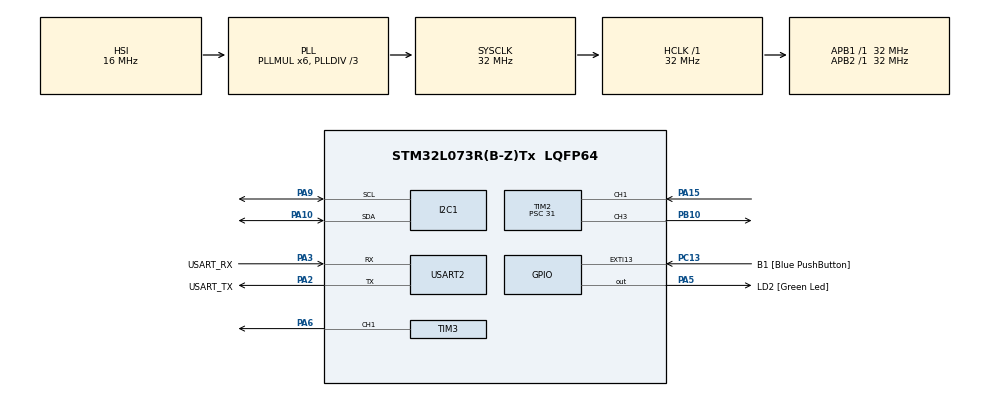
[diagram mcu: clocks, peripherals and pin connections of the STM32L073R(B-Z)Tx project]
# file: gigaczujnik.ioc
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I2C1.Timing=0x00707CBB
Mcu.Family=STM32L0
Mcu.Name=STM32L073R(B-Z)Tx
Mcu.Package=LQFP64
NVIC.USART2_IRQn=true\:0\:0\:false\:false\:true\:true\:true\:true
PA10.GPIO_Pu=GPIO_PULLUP
PA10.Mode=I2C
PA10.Signal=I2C1_SDA
PA13.GPIO_Label=TMS
PA13.Mode=Serial_Wire
PA13.Signal=SYS_SWDIO
PA14.GPIO_Label=TCK
PA14.Mode=Serial_Wire
PA14.Signal=SYS_SWCLK
PA15.Signal=S_TIM2_CH1
PA2.GPIO_Label=USART_TX
PA2.Mode=Asynchronous
PA2.Signal=USART2_TX
PA3.GPIO_Label=USART_RX
PA3.Mode=Asynchronous
PA3.Signal=USART2_RX
PA5.GPIO_Label=LD2 [Green Led]
PA5.Signal=GPIO_Output
PA6.Signal=S_TIM3_CH1
PA9.GPIO_Pu=GPIO_PULLUP
PA9.Mode=I2C
PA9.Signal=I2C1_SCL
PB10.Signal=S_TIM2_CH3
PC13.GPIO_Label=B1 [Blue PushButton]
PC13.GPIO_ModeDefaultEXTI=GPIO_MODE_IT_FALLING
PC13.Signal=GPXTI13
PC14-OSC32_IN.Mode=LSE-External-Oscillator
PC14-OSC32_IN.Signal=RCC_OSC32_IN
PC15-OSC32_OUT.Mode=LSE-External-Oscillator
PC15-OSC32_OUT.Signal=RCC_OSC32_OUT
PH0-OSC_IN.GPIO_Label=MCO
PH0-OSC_IN.Mode=HSE-External-Clock-Source
PH0-OSC_IN.Signal=RCC_OSC_IN
ProjectManager.HeapSize=0x200
ProjectManager.StackSize=0x400
ProjectManager.TargetToolchain=STM32CubeIDE
RCC.AHBFreq_Value=32000000
RCC.APB1Freq_Value=32000000
RCC.APB1TimFreq_Value=32000000
RCC.APB2Freq_Value=32000000
RCC.APB2TimFreq_Value=32000000
RCC.HCLKFreq_Value=32000000
RCC.HSE_VALUE=8000000
RCC.HSI16_VALUE=16000000
RCC.HSI48_VALUE=48000000
RCC.HSI_VALUE=16000000
RCC.MSI_VALUE=2097000
RCC.PLLDIV=RCC_PLLDIV_3
RCC.PLLMUL=RCC_PLLMUL_6
RCC.SYSCLKFreq_VALUE=32000000
RCC.SYSCLKSource=RCC_SYSCLKSOURCE_PLLCLK
RCC.VCOOutputFreq_Value=96000000
SH.S_TIM2_CH1.0=TIM2_CH1,Input_Capture1_from_TI1
SH.S_TIM2_CH3.0=TIM2_CH3,PWM Generation3 CH3
SH.S_TIM3_CH1.0=TIM3_CH1,PWM Generation1 CH1
TIM2.Channel-Input_Capture1_from_TI1=TIM_CHANNEL_1
TIM2.Channel-Input_Capture2_from_TI1_63=TIM_CHANNEL_2
TIM2.Channel-PWM\ Generation3\ CH3=TIM_CHANNEL_3
TIM2.ICPolarity_CH1=TIM_INPUTCHANNELPOLARITY_RISING
TIM2.ICPolarity_CH2=TIM_INPUTCHANNELPOLARITY_FALLING
TIM2.Prescaler=31
TIM2.Pulse-PWM\ Generation3\ CH3=10
TIM3.Channel-PWM\ Generation1\ CH1=TIM_CHANNEL_1
TIM3.Period=19999
TIM3.Prescaler=31
USART2.VirtualMode-Asynchronous=VM_ASYNC
VP_TIM2_VS_indirect_ch1.Mode=Input_Capture2_from_TI1_63
board=NUCLEO-L073RZ

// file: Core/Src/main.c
/* USER CODE BEGIN Header */
/**
  ******************************************************************************
  * @file           : main.c
  * @brief          : Main program body
  ******************************************************************************
  * @attention
  *
  * Copyright (c) 2022 STMicroelectronics.
  * All rights reserved.
  *
  * This software is licensed under terms that can be found in the LICENSE file
  * in the root directory of this software component.
  * If no LICENSE file comes with this software, it is provided AS-IS.
  *
  ******************************************************************************
  */
/* USER CODE END Header */
#include "main.h"
#include "i2c.h"
#include "tim.h"
#include "usart.h"
#include "gpio.h"

/* USER CODE BEGIN Includes */
#include <stdio.h>
#include <string.h>
#include "servo360.h"
#include "akcelerometr.h"

/* USER CODE END Includes */

/* USER CODE BEGIN PD */
#define SERWO_MIN 500
#define SERWO_MAX 2500

//#define bma_adr 0x0A<<1
/* USER CODE END PD */

/* USER CODE BEGIN PV */
char msg[64];
float changed_value;
float avg_changed_value;

//sternvarablrs
int state = 1;
uint8_t znak, komunikat[20], kutas, radres;
uint16_t dlkom;
int8_t data_rec[6];
int odakcel;
int kat;
float PID;
float Kp = 1;
float Ki = 0.001;
float cumError;

int oTime;
int nTime;
int dTime;
//sternvariablesend
/* USER CODE END PV */

void SystemClock_Config(void);
/* USER CODE BEGIN PFP */
//int PrzeliczKat(int kat);
//
//void bma_write (uint8_t reg, uint8_t value){
//	uint8_t data[2];
//	data[0] = reg;
//	data[1] = value;
//
//	HAL_I2C_Master_Transmit(&hi2c1, bma_adr, data, 2, 10);
//
//}
//
//
//void bma_read (uint8_t reg, uint8_t numberofbytes){
//
//	HAL_I2C_Mem_Read(&hi2c1, bma_adr, reg, 1, data_rec, numberofbytes, 100);
//
//}
//
//void bma_init (void){
//
//	bma_write(0x22,0x00);
//
//	bma_write(0x20,0x05);
//
//	bma_write(0x1A,0x04);
//
//
//
//
//}
/* USER CODE END PFP */

int main(void)
{

  /* MCU Configuration--------------------------------------------------------*/

  /* Reset of all peripherals, Initializes the Flash interface and the Systick. */
  HAL_Init();

  /* Configure the system clock */
  SystemClock_Config();

  /* Initialize all configured peripherals */
  MX_GPIO_Init();
  MX_USART2_UART_Init();
  MX_TIM2_Init();
  MX_TIM3_Init();
  MX_I2C1_Init();
  /* USER CODE BEGIN 2 */
  	  HAL_TIM_IC_Start(&htim2, TIM_CHANNEL_1);
    HAL_TIM_IC_Start(&htim2, TIM_CHANNEL_2);
    HAL_TIM_PWM_Start(&htim2, TIM_CHANNEL_3);
    HAL_TIM_PWM_Start(&htim3, TIM_CHANNEL_1);
    HAL_UART_Receive_IT(&huart2, &znak, 1);
    HAL_Delay(1000);

	 // __HAL_TIM_SET_COMPARE(&htim3, TIM_CHANNEL_1, 1400);

  /* USER CODE END 2 */

  /* Infinite loop */
  /* USER CODE BEGIN WHILE */
    bma_init();

    oTime = HAL_GetTick();
  while (1)
  {

	  //stern
	  bma_read(0x4,1,data_rec);
	  //bma_read(0x0,1);
	  //sprintf(komunikat,"%c", data_rec[0]);
	   odakcel = (int)(data_rec[0] >> 2);

	  // sprintf(komunikat,"%c", odakcel);
	     //			  dlkom = 1;
	    // HAL_UART_Transmit(&huart2, komunikat, 1, 1000);

	   	  dTime = nTime - oTime;
	   	  oTime = nTime;

	   cumError += (odakcel*5.625)*dTime;

	   if (cumError > 90){
	 	  cumError = 90;
	   }
	   else if (cumError < -90){
	 	  cumError = -90;
	   }

	   PID = 1*(odakcel*5.625) + 0*cumError;
	   //kat = PrzeliczKat((int)PID);
	 // sprintf(komunikat,"%c", (int)PID);
	  // HAL_UART_Transmit(&huart2, komunikat, 1, 1000);
 	   //HAL_UART_Transmit(&huart2, (uint8_t*)komunikat, strlen(komunikat),1000);

	  //stern

	  uint32_t start = HAL_TIM_ReadCapturedValue(&htim2, TIM_CHANNEL_1);
	  uint32_t stop = HAL_TIM_ReadCapturedValue(&htim2, TIM_CHANNEL_2);
	  	 // sprintf((char*)msg,"Odczyt: %lu\n",start-2236);

	  	   changed_value = (stop-start)/58.0f;

	  	  	sprintf((char*)msg,"ODL %.1f cm\n",(stop-start) / 58.0f);
	  	  	HAL_UART_Transmit(&huart2, (uint8_t*)msg, strlen(msg),1000);

	  	  	HAL_Delay(100);
	  	  	//set_ang(0);
	  	//  	HAL_Delay(1000);
	  	//  __HAL_TIM_SET_COMPARE(&htim3, TIM_CHANNEL_1, 1530);//stoi jak chuj
	  	 // set_ang(1800);
	  	  //HAL_Delay(1000);
	  	//__HAL_TIM_SET_COMPARE(&htim3, TIM_CHANNEL_1, 830);
	  	  if ( PID <-20)
	  	  {
	  	  	//__HAL_TIM_SET_COMPARE(&htim3, TIM_CHANNEL_1, 1530);//stoi jak chuj

	  		 set_move(changed_value-25, 0);
	  	  }
	  	  else if ( PID > 20)
	  	  {
	  	  	  __HAL_TIM_SET_COMPARE(&htim3, TIM_CHANNEL_1, 1530);//stoi jak chuj

	  		set_move((25 - changed_value),1);
	  	  }

	  	  else{
	  		  	  if(changed_value<=25)
	  		  	  {
	  		  		  set_move((25 - changed_value),1);
	  		  	  }
	  		  	  else
	  		  	  {
	  		  		  set_move(changed_value-25, 0);
	  		  	  }
	  	  	  }

	  	//set_move(3,1);

	  	//  __HAL_TIM_SET_COMPARE(&htim3, TIM_CHANNEL_1, 1530);//stoi jak chuj
	  //	HAL_Delay(1000);
	  	//stop_servo();
	  	//HAL_Delay(1000);
	  	//stop_servo();
	  		  	  //HAL_Delay(1000);
    /* USER CODE END WHILE */

  }
}

void SystemClock_Config(void)
{
  RCC_OscInitTypeDef RCC_OscInitStruct = {0};
  RCC_ClkInitTypeDef RCC_ClkInitStruct = {0};
  RCC_PeriphCLKInitTypeDef PeriphClkInit = {0};

  /** Configure the main internal regulator output voltage
  */
  __HAL_PWR_VOLTAGESCALING_CONFIG(PWR_REGULATOR_VOLTAGE_SCALE1);

  /** Initializes the RCC Oscillators according to the specified parameters
  * in the RCC_OscInitTypeDef structure.
  */
  RCC_OscInitStruct.OscillatorType = RCC_OSCILLATORTYPE_HSI;
  RCC_OscInitStruct.HSIState = RCC_HSI_ON;
  RCC_OscInitStruct.HSICalibrationValue = RCC_HSICALIBRATION_DEFAULT;
  RCC_OscInitStruct.PLL.PLLState = RCC_PLL_ON;
  RCC_OscInitStruct.PLL.PLLSource = RCC_PLLSOURCE_HSI;
  RCC_OscInitStruct.PLL.PLLMUL = RCC_PLLMUL_6;
  RCC_OscInitStruct.PLL.PLLDIV = RCC_PLLDIV_3;
  if (HAL_RCC_OscConfig(&RCC_OscInitStruct) != HAL_OK)
  {
    Error_Handler();
  }

  /** Initializes the CPU, AHB and APB buses clocks
  */
  RCC_ClkInitStruct.ClockType = RCC_CLOCKTYPE_HCLK|RCC_CLOCKTYPE_SYSCLK
                              |RCC_CLOCKTYPE_PCLK1|RCC_CLOCKTYPE_PCLK2;
  RCC_ClkInitStruct.SYSCLKSource = RCC_SYSCLKSOURCE_PLLCLK;
  RCC_ClkInitStruct.AHBCLKDivider = RCC_SYSCLK_DIV1;
  RCC_ClkInitStruct.APB1CLKDivider = RCC_HCLK_DIV1;
  RCC_ClkInitStruct.APB2CLKDivider = RCC_HCLK_DIV1;

  if (HAL_RCC_ClockConfig(&RCC_ClkInitStruct, FLASH_LATENCY_1) != HAL_OK)
  {
    Error_Handler();
  }
  PeriphClkInit.PeriphClockSelection = RCC_PERIPHCLK_USART2|RCC_PERIPHCLK_I2C1;
  PeriphClkInit.Usart2ClockSelection = RCC_USART2CLKSOURCE_PCLK1;
  PeriphClkInit.I2c1ClockSelection = RCC_I2C1CLKSOURCE_PCLK1;
  if (HAL_RCCEx_PeriphCLKConfig(&PeriphClkInit) != HAL_OK)
  {
    Error_Handler();
  }
}

/* USER CODE BEGIN 4 */
//int PrzeliczKat(int kat){
//	int wynik = 0;
//
//	if (kat > 90){
//		return 2500;
//	}
//	else if (kat < -90) {
//		return 500;
//	}
//
//	else {
//		wynik = (kat * 11.11) + 1500;
//		return wynik;
//
//	}
//
//}

//void HAL_UART_RxCpltCallback(UART_HandleTypeDef *huart){
//
//	if(huart->Instance == USART2){
//		if(znak == 'l'){
//			state = 2;
//
//			  sprintf(komunikat,"lewo");
//			  dlkom = 4;
//			  HAL_UART_Transmit_IT(&huart2, komunikat, dlkom);
//		}
//		else if (znak == 'r'){
//			state = 0;
//
//			  sprintf(komunikat,"prawo");
//			  dlkom = 5;
//			  HAL_UART_Transmit_IT(&huart2, komunikat, dlkom);
//		}
//
//		else if(znak == 's'){
//			state = 1;
//
//			  sprintf(komunikat,"srodek");
//			  dlkom = 6;
//			  HAL_UART_Transmit_IT(&huart2, komunikat, dlkom);
//		}
//
//		else if(znak == 'm'){
//			state = 3;
//
//			  sprintf(komunikat,"moje");
//			  dlkom = 4;
//			  HAL_UART_Transmit_IT(&huart2, komunikat, dlkom);
//
//
//
//
//		}
//		HAL_UART_Receive_IT(&huart2, &znak, 1);
//	}
//}
/* USER CODE END 4 */

void Error_Handler(void)
{
  __disable_irq();
  while (1)
  {
  }
}
